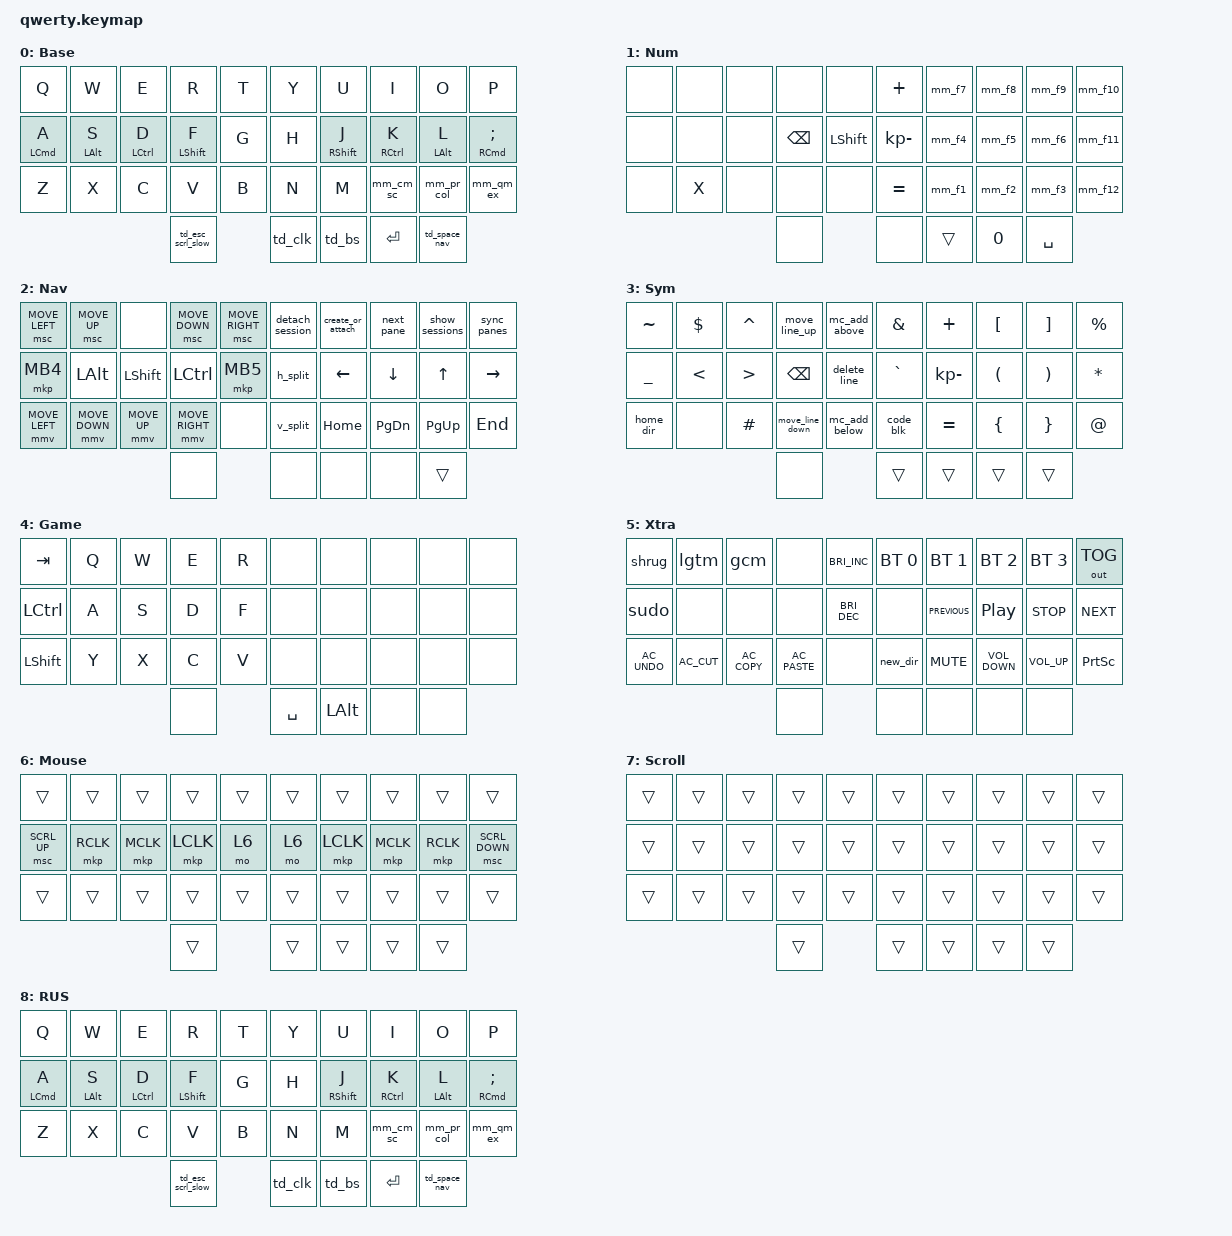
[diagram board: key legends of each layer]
/* upstream bindings and behaviors */
#include <behaviors.dtsi>
#include <dt-bindings/zmk/bt.h>
#include <dt-bindings/zmk/keys.h>
#include <dt-bindings/zmk/mouse.h>
#include <dt-bindings/zmk/outputs.h>
#include <behaviors/mouse_keys.dtsi>
#include <dt-bindings/zmk/ext_power.h>

/* local overlays */
#include "macros.dtsi"
#include "behaviors.dtsi"
#include "combos.dtsi"

/ {
    keymap {
        compatible = "zmk,keymap";
        BASE {
            display-name = "Base";
            bindings = <
    &kp Q            &kp W            &kp E             &kp R             &kp T     &kp Y  &kp U              &kp I              &kp O             &kp P
    &ht_left LCMD A  &ht_left LALT S  &ht_left LCTRL D  &ht_left LSHFT F  &kp G     &kp H  &ht_right RSHFT J  &ht_right RCTRL K  &ht_right LALT L  &ht_right RCMD SEMICOLON
    &kp Z            &kp X            &kp C             &kp V             &kp B     &kp N  &kp M              &mm_cm_sc          &mm_pr_col        &mm_qm_ex
                                                             &td_esc_scrl_slow   &td_clk  &td_bs     &kp ENTER  &td_space_nav
            >;
        };

        NUM {
            display-name = "Num";
            bindings = <
    &none  &none   &none  &none          &none            &kp PLUS     &mm_f7             &mm_f8             &mm_f9             &mm_f10
    &none  &none  &none  &kp BACKSPACE  &kp LSHIFT       &kp KP_MINUS &mm_f4             &mm_f5             &mm_f6             &mm_f11
    &none  &kp X  &none  &none          &none            &kp EQUAL    &mm_f1             &mm_f2             &mm_f3             &mm_f12
                           &none  &none          &trans           &kp N0     &kp SPACE
            >;
        };

        NAV {
            display-name = "Nav";
            bindings = <
    &msc MOVE_LEFT  &msc MOVE_UP    &none        &msc MOVE_DOWN  &msc MOVE_RIGHT     &detach_session  &create_or_attach  &next_pane   &show_sessions  &sync_panes
    &mkp MB4        &kp LALT        &kp LSHFT    &kp LCTRL       &mkp MB5            &h_split         &kp LEFT_ARROW     &kp DOWN     &kp UP          &kp RIGHT_ARROW
    &mmv MOVE_LEFT  &mmv MOVE_DOWN  &mmv MOVE_UP &mmv MOVE_RIGHT &none               &v_split         &kp HOME           &kp PG_DN    &kp PG_UP       &kp END
                                                          &none   &none   &none               &none   &trans
            >;
        };

        SYM {
            display-name = "Sym";
            bindings = <
    &kp TILDE  &kp DLLR  &kp CARET  &move_line_up    &mc_add_above      &kp AMPS   &kp PLUS     &kp LBKT  &kp RBKT  &kp PRCNT
    &kp UNDER  &kp LT    &kp GT     &kp BACKSPACE    &delete_line       &kp GRAVE  &kp KP_MINUS &kp LPAR  &kp RPAR  &kp ASTRK
    &home_dir  &none     &kp HASH   &move_line_down  &mc_add_below      &code_blk  &kp EQUAL    &kp LBRC  &kp RBRC  &kp AT
                                           &none  &trans     &trans            &trans   &trans
            >;
        };

        GAME {
            display-name = "Game";
            bindings = <
    &kp TAB    &kp Q  &kp W   &kp E      &kp R           &none  &none  &none  &none  &none
    &kp LCTRL  &kp A  &kp S   &kp D      &kp F           &none  &none  &none  &none  &none
    &kp LSHFT  &kp Y  &kp X   &kp C      &kp V           &none  &none  &none  &none  &none
                              &none   &kp SPACE  &kp LEFT_ALT    &none  &none
            >;
        };

        EXTRAS {
            display-name = "Xtra";
            bindings = <
    &shrug          &lgtm           &gcm            &none           &kp C_BRIGHTNESS_INC    &bt BT_SEL 0  &bt BT_SEL 1    &bt BT_SEL 2       &bt BT_SEL 3  &out OUT_TOG
    &sudo           &none           &none           &none           &kp C_BRIGHTNESS_DEC    &none         &kp C_PREVIOUS  &kp C_PLAY_PAUSE   &kp C_STOP    &kp C_NEXT
    &kp C_AC_UNDO   &kp C_AC_CUT    &kp C_AC_COPY   &kp C_AC_PASTE  &none                   &new_dir      &kp K_MUTE      &kp C_VOLUME_DOWN  &kp C_VOLUME_UP   &kp PRINTSCREEN
                                                                                       &none  &none  &none    &none         &none
            >;
        };

        MOUSE {
            display-name = "Mouse";
            bindings = <
    &trans        &trans        &trans        &trans        &trans        &trans        &trans        &trans        &trans        &trans
    &msc SCRL_UP  &mkp RCLK     &mkp MCLK     &mkp LCLK     &mo 6         &mo 6         &mkp LCLK     &mkp MCLK     &mkp RCLK     &msc SCRL_DOWN
    &trans        &trans        &trans        &trans        &trans        &trans        &trans        &trans        &trans        &trans
                                                      &trans    &trans    &trans        &trans        &trans
            >;
        };

        SCROLL {
            display-name = "Scroll";
            bindings = <
    &trans    &trans    &trans    &trans    &trans    &trans    &trans    &trans    &trans    &trans
    &trans    &trans    &trans    &trans    &trans    &trans    &trans    &trans    &trans    &trans
    &trans    &trans    &trans    &trans    &trans    &trans    &trans    &trans    &trans    &trans
                              &trans    &trans    &trans    &trans    &trans
            >;
        };

        RUS {
            display-name = "RUS";
            bindings = <
    &kp Q            &kp W            &kp E             &kp R             &kp T     &kp Y  &kp U              &kp I              &kp O             &kp P
    &ht_left LCMD A  &ht_left LALT S  &ht_left LCTRL D  &ht_left LSHFT F  &kp G     &kp H  &ht_right RSHFT J  &ht_right RCTRL K  &ht_right LALT L  &ht_right RCMD SEMICOLON
    &kp Z            &kp X            &kp C             &kp V             &kp B     &kp N  &kp M              &mm_cm_sc          &mm_pr_col        &mm_qm_ex
                                                             &td_esc_scrl_slow   &td_clk  &td_bs     &kp ENTER  &td_space_nav
            >;
        };
    };
};
